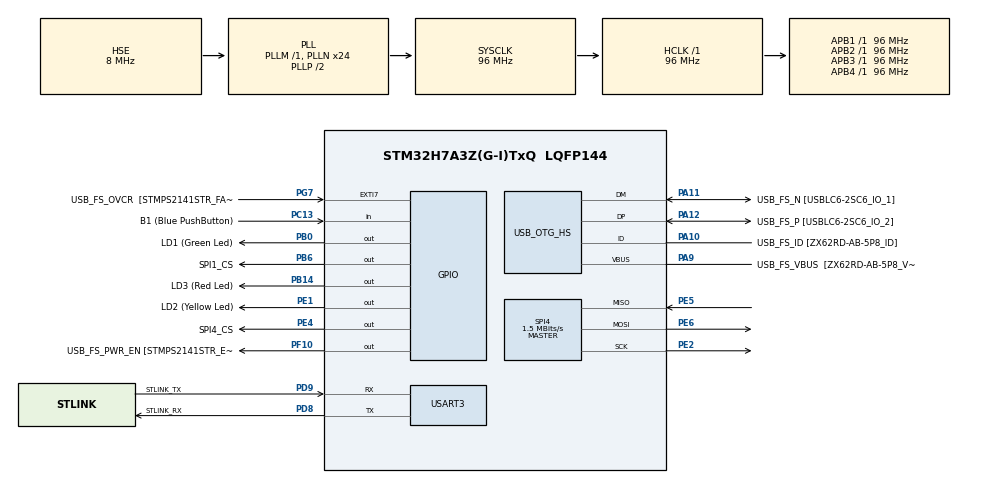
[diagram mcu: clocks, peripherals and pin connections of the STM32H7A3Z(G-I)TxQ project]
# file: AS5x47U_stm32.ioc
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Mcu.Family=STM32H7
Mcu.Name=STM32H7A3Z(G-I)TxQ
Mcu.Package=LQFP144
NVIC.PriorityGroup=NVIC_PRIORITYGROUP_4
PA10.GPIO_Label=USB_FS_ID [ZX62RD-AB-5P8_ID]
PA10.Mode=OTG/Dual-Role-Device-FS
PA10.Signal=USB_OTG_HS_ID
PA11.GPIO_Label=USB_FS_N [USBLC6-2SC6_IO_1]
PA11.Mode=OTG/Dual-Role-Device-FS
PA11.Signal=USB_OTG_HS_DM
PA12.GPIO_Label=USB_FS_P [USBLC6-2SC6_IO_2]
PA12.Mode=OTG/Dual-Role-Device-FS
PA12.Signal=USB_OTG_HS_DP
PA9.GPIO_Label=USB_FS_VBUS  [ZX62RD-AB-5P8_VBUS]
PA9.Mode=Activate_VBUS_FS
PA9.Signal=USB_OTG_HS_VBUS
PB0.GPIO_Label=LD1 (Green Led)
PB0.Signal=GPIO_Output
PB14.GPIO_Label=LD3 (Red Led)
PB14.Signal=GPIO_Output
PB6.GPIO_Label=SPI1_CS
PB6.Signal=GPIO_Output
PC13.GPIO_Label=B1 (Blue PushButton)
PC13.Signal=GPIO_Input
PC14-OSC32_IN.GPIO_Label=OSC32_IN
PC14-OSC32_IN.Mode=LSE-External-Oscillator
PC14-OSC32_IN.Signal=RCC_OSC32_IN
PC15-OSC32_OUT.GPIO_Label=OSC32_OUT
PC15-OSC32_OUT.Mode=LSE-External-Oscillator
PC15-OSC32_OUT.Signal=RCC_OSC32_OUT
PD8.GPIO_Label=STLINK_RX
PD8.Mode=Asynchronous
PD8.Signal=USART3_TX
PD9.GPIO_Label=STLINK_TX
PD9.Mode=Asynchronous
PD9.Signal=USART3_RX
PE1.GPIO_Label=LD2 (Yellow Led)
PE1.Signal=GPIO_Output
PE2.GPIO_PuPd=GPIO_NOPULL
PE2.Mode=Full_Duplex_Master
PE2.Signal=SPI4_SCK
PE4.GPIO_Label=SPI4_CS
PE4.GPIO_PuPd=GPIO_PULLUP
PE4.PinState=GPIO_PIN_SET
PE4.Signal=GPIO_Output
PE5.GPIO_PuPd=GPIO_NOPULL
PE5.Mode=Full_Duplex_Master
PE5.Signal=SPI4_MISO
PE6.Mode=Full_Duplex_Master
PE6.Signal=SPI4_MOSI
PF10.GPIO_Label=USB_FS_PWR_EN [STMPS2141STR_EN]
PF10.Signal=GPIO_Output
PG7.GPIO_Label=USB_FS_OVCR  [STMPS2141STR_FAULT]
PG7.Signal=GPXTI7
PH0-OSC_IN.GPIO_Label=PH0-MCU
PH0-OSC_IN.Mode=HSE-External-Clock-Source
PH0-OSC_IN.Signal=RCC_OSC_IN
PH1-OSC_OUT.GPIO_Label=PH1-MCU
PH1-OSC_OUT.Signal=RCC_OSC_OUT
ProjectManager.HeapSize=0x200
ProjectManager.StackSize=0x400
ProjectManager.TargetToolchain=STM32CubeIDE
RCC.ADCFreq_Value=16125000
RCC.APB1Freq_Value=96000000
RCC.APB2Freq_Value=96000000
RCC.APB3Freq_Value=96000000
RCC.APB4Freq_Value=96000000
RCC.CortexFreq_Value=96000000
RCC.DIVM1=1
RCC.DIVM3=1
RCC.DIVN1=24
RCC.DIVN3=24
RCC.DIVQ1=4
RCC.HCLKFreq_Value=96000000
RCC.HSE_VALUE=8000000
RCC.PLLFRACN=0
RCC.PLLSourceVirtual=RCC_PLLSOURCE_HSE
RCC.PWR_Regulator_Voltage_Scale=PWR_REGULATOR_VOLTAGE_SCALE0
RCC.SYSCLKFreq_VALUE=96000000
RCC.SYSCLKSource=RCC_SYSCLKSOURCE_PLLCLK
RCC.SupplySource=PWR_DIRECT_SMPS_SUPPLY
RCC.USBCLockSelection=RCC_USBCLKSOURCE_HSI48
RCC.USBFreq_Value=48000000
SPI4.BaudRatePrescaler=SPI_BAUDRATEPRESCALER_64
SPI4.CLKPhase=SPI_PHASE_2EDGE
SPI4.CLKPolarity=SPI_POLARITY_LOW
SPI4.CalculateBaudRate=1.5 MBits/s
SPI4.DataSize=SPI_DATASIZE_16BIT
SPI4.Direction=SPI_DIRECTION_2LINES
SPI4.Mode=SPI_MODE_MASTER
SPI4.NSSPMode=SPI_NSS_PULSE_DISABLE
SPI4.VirtualType=VM_MASTER
TIM2.AutoReloadPreload=TIM_AUTORELOAD_PRELOAD_ENABLE
TIM2.Period=4294967295
TIM2.Prescaler=96-1
USART3.VirtualMode-Asynchronous=VM_ASYNC
VP_TIM2_VS_ClockSourceINT.Mode=Internal
board=NUCLEO-H7A3ZI-Q

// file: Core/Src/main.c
/* USER CODE BEGIN Header */
/**
  ******************************************************************************
  * @file           : main.c
  * @brief          : Main program body
  ******************************************************************************
  * @attention
  *
  * Copyright (c) 2023 STMicroelectronics.
  * All rights reserved.
  *
  * This software is licensed under terms that can be found in the LICENSE file
  * in the root directory of this software component.
  * If no LICENSE file comes with this software, it is provided AS-IS.
  *
  ******************************************************************************
  */
/* USER CODE END Header */
#include "main.h"

/* USER CODE BEGIN Includes */
#include "AS5x47U.h"
/* USER CODE END Includes */

SPI_HandleTypeDef hspi4;

TIM_HandleTypeDef htim2;

UART_HandleTypeDef huart3;

void SystemClock_Config(void);
static void MX_GPIO_Init(void);
static void MX_USART3_UART_Init(void);
static void MX_USB_OTG_HS_USB_Init(void);
static void MX_SPI4_Init(void);
static void MX_TIM2_Init(void);

/* USER CODE BEGIN 0 */
uint32_t micros(TIM_HandleTypeDef *timer) {
	return __HAL_TIM_GET_COUNTER(timer);
}
/* USER CODE END 0 */

int main(void)
{

  /* MCU Configuration--------------------------------------------------------*/

  /* Reset of all peripherals, Initializes the Flash interface and the Systick. */
  HAL_Init();

  /* Configure the system clock */
  SystemClock_Config();

  /* Initialize all configured peripherals */
  MX_GPIO_Init();
  MX_USART3_UART_Init();
  MX_USB_OTG_HS_USB_Init();
  MX_SPI4_Init();
  MX_TIM2_Init();
  /* USER CODE BEGIN 2 */
  // Set up an AS5x47U instance and initialise it
  AS5x47U* enc_ptr = AS5x47U_init(&hspi4, SPI4_CS_GPIO_Port, SPI4_CS_Pin);
  HAL_TIM_Base_Start(&htim2);
  // Set up buffer for printing
  float MSG[40] = {'\0'}; // NULL terminated string for printing
  float X = 0.0;
  uint32_t ENC_TIME = 10000; // 0.1 seconds
  uint32_t prevTime = micros(&htim2);
  /* USER CODE END 2 */

  /* Infinite loop */
  while (1)
  {

    /* USER CODE BEGIN 3 */

	uint32_t currentTime = micros(&htim2);
	if (currentTime - prevTime >= ENC_TIME) {

	    // Read the position
	    AS5x47U_readPositionDAE(enc_ptr);
	    X = enc_ptr->angle_comp;

	    HAL_Delay(100);

//		if (!(enc_ptr->errorBit || enc_ptr->warningBit)) {
//
//		}

		sprintf(MSG, "X = %.2f\r\nWarning bit: %d\r\nError bit: %d\r\n",
			  X, enc_ptr->warningBit, enc_ptr->errorBit);
		HAL_UART_Transmit(&huart3, (uint8_t*) MSG, sizeof(MSG), 100);

		HAL_Delay(100);

//	    AS5x47U_printERRFL(enc_ptr, &huart3);
//	    AS5x47U_printDIA(enc_ptr, &huart3);

	    prevTime = micros(&htim2);

	}

  }
  /* USER CODE END 3 */
}

void SystemClock_Config(void)
{
  RCC_OscInitTypeDef RCC_OscInitStruct = {0};
  RCC_ClkInitTypeDef RCC_ClkInitStruct = {0};

  /*AXI clock gating */
  RCC->CKGAENR = 0xFFFFFFFF;

  /** Supply configuration update enable
  */
  HAL_PWREx_ConfigSupply(PWR_DIRECT_SMPS_SUPPLY);

  /** Configure the main internal regulator output voltage
  */
  __HAL_PWR_VOLTAGESCALING_CONFIG(PWR_REGULATOR_VOLTAGE_SCALE0);

  while(!__HAL_PWR_GET_FLAG(PWR_FLAG_VOSRDY)) {}

  /** Initializes the RCC Oscillators according to the specified parameters
  * in the RCC_OscInitTypeDef structure.
  */
  RCC_OscInitStruct.OscillatorType = RCC_OSCILLATORTYPE_HSI48|RCC_OSCILLATORTYPE_HSE;
  RCC_OscInitStruct.HSEState = RCC_HSE_BYPASS;
  RCC_OscInitStruct.HSI48State = RCC_HSI48_ON;
  RCC_OscInitStruct.PLL.PLLState = RCC_PLL_ON;
  RCC_OscInitStruct.PLL.PLLSource = RCC_PLLSOURCE_HSE;
  RCC_OscInitStruct.PLL.PLLM = 1;
  RCC_OscInitStruct.PLL.PLLN = 24;
  RCC_OscInitStruct.PLL.PLLP = 2;
  RCC_OscInitStruct.PLL.PLLQ = 4;
  RCC_OscInitStruct.PLL.PLLR = 2;
  RCC_OscInitStruct.PLL.PLLRGE = RCC_PLL1VCIRANGE_3;
  RCC_OscInitStruct.PLL.PLLVCOSEL = RCC_PLL1VCOWIDE;
  RCC_OscInitStruct.PLL.PLLFRACN = 0;
  if (HAL_RCC_OscConfig(&RCC_OscInitStruct) != HAL_OK)
  {
    Error_Handler();
  }

  /** Initializes the CPU, AHB and APB buses clocks
  */
  RCC_ClkInitStruct.ClockType = RCC_CLOCKTYPE_HCLK|RCC_CLOCKTYPE_SYSCLK
                              |RCC_CLOCKTYPE_PCLK1|RCC_CLOCKTYPE_PCLK2
                              |RCC_CLOCKTYPE_D3PCLK1|RCC_CLOCKTYPE_D1PCLK1;
  RCC_ClkInitStruct.SYSCLKSource = RCC_SYSCLKSOURCE_PLLCLK;
  RCC_ClkInitStruct.SYSCLKDivider = RCC_SYSCLK_DIV1;
  RCC_ClkInitStruct.AHBCLKDivider = RCC_HCLK_DIV1;
  RCC_ClkInitStruct.APB3CLKDivider = RCC_APB3_DIV1;
  RCC_ClkInitStruct.APB1CLKDivider = RCC_APB1_DIV1;
  RCC_ClkInitStruct.APB2CLKDivider = RCC_APB2_DIV1;
  RCC_ClkInitStruct.APB4CLKDivider = RCC_APB4_DIV1;

  if (HAL_RCC_ClockConfig(&RCC_ClkInitStruct, FLASH_LATENCY_2) != HAL_OK)
  {
    Error_Handler();
  }
}

static void MX_SPI4_Init(void)
{

  /* SPI4 parameter configuration*/
  hspi4.Instance = SPI4;
  hspi4.Init.Mode = SPI_MODE_MASTER;
  hspi4.Init.Direction = SPI_DIRECTION_2LINES;
  hspi4.Init.DataSize = SPI_DATASIZE_16BIT;
  hspi4.Init.CLKPolarity = SPI_POLARITY_LOW;
  hspi4.Init.CLKPhase = SPI_PHASE_2EDGE;
  hspi4.Init.NSS = SPI_NSS_SOFT;
  hspi4.Init.BaudRatePrescaler = SPI_BAUDRATEPRESCALER_64;
  hspi4.Init.FirstBit = SPI_FIRSTBIT_MSB;
  hspi4.Init.TIMode = SPI_TIMODE_DISABLE;
  hspi4.Init.CRCCalculation = SPI_CRCCALCULATION_DISABLE;
  hspi4.Init.CRCPolynomial = 0x0;
  hspi4.Init.NSSPMode = SPI_NSS_PULSE_DISABLE;
  hspi4.Init.NSSPolarity = SPI_NSS_POLARITY_LOW;
  hspi4.Init.FifoThreshold = SPI_FIFO_THRESHOLD_01DATA;
  hspi4.Init.TxCRCInitializationPattern = SPI_CRC_INITIALIZATION_ALL_ZERO_PATTERN;
  hspi4.Init.RxCRCInitializationPattern = SPI_CRC_INITIALIZATION_ALL_ZERO_PATTERN;
  hspi4.Init.MasterSSIdleness = SPI_MASTER_SS_IDLENESS_00CYCLE;
  hspi4.Init.MasterInterDataIdleness = SPI_MASTER_INTERDATA_IDLENESS_00CYCLE;
  hspi4.Init.MasterReceiverAutoSusp = SPI_MASTER_RX_AUTOSUSP_DISABLE;
  hspi4.Init.MasterKeepIOState = SPI_MASTER_KEEP_IO_STATE_DISABLE;
  hspi4.Init.IOSwap = SPI_IO_SWAP_DISABLE;
  if (HAL_SPI_Init(&hspi4) != HAL_OK)
  {
    Error_Handler();
  }

}

static void MX_TIM2_Init(void)
{

  TIM_ClockConfigTypeDef sClockSourceConfig = {0};
  TIM_MasterConfigTypeDef sMasterConfig = {0};

  htim2.Instance = TIM2;
  htim2.Init.Prescaler = 96-1;
  htim2.Init.CounterMode = TIM_COUNTERMODE_UP;
  htim2.Init.Period = 4294967295;
  htim2.Init.ClockDivision = TIM_CLOCKDIVISION_DIV1;
  htim2.Init.AutoReloadPreload = TIM_AUTORELOAD_PRELOAD_ENABLE;
  if (HAL_TIM_Base_Init(&htim2) != HAL_OK)
  {
    Error_Handler();
  }
  sClockSourceConfig.ClockSource = TIM_CLOCKSOURCE_INTERNAL;
  if (HAL_TIM_ConfigClockSource(&htim2, &sClockSourceConfig) != HAL_OK)
  {
    Error_Handler();
  }
  sMasterConfig.MasterOutputTrigger = TIM_TRGO_RESET;
  sMasterConfig.MasterSlaveMode = TIM_MASTERSLAVEMODE_DISABLE;
  if (HAL_TIMEx_MasterConfigSynchronization(&htim2, &sMasterConfig) != HAL_OK)
  {
    Error_Handler();
  }

}

static void MX_USART3_UART_Init(void)
{

  huart3.Instance = USART3;
  huart3.Init.BaudRate = 115200;
  huart3.Init.WordLength = UART_WORDLENGTH_8B;
  huart3.Init.StopBits = UART_STOPBITS_1;
  huart3.Init.Parity = UART_PARITY_NONE;
  huart3.Init.Mode = UART_MODE_TX_RX;
  huart3.Init.HwFlowCtl = UART_HWCONTROL_NONE;
  huart3.Init.OverSampling = UART_OVERSAMPLING_16;
  huart3.Init.OneBitSampling = UART_ONE_BIT_SAMPLE_DISABLE;
  huart3.Init.ClockPrescaler = UART_PRESCALER_DIV1;
  huart3.AdvancedInit.AdvFeatureInit = UART_ADVFEATURE_NO_INIT;
  if (HAL_UART_Init(&huart3) != HAL_OK)
  {
    Error_Handler();
  }
  if (HAL_UARTEx_SetTxFifoThreshold(&huart3, UART_TXFIFO_THRESHOLD_1_8) != HAL_OK)
  {
    Error_Handler();
  }
  if (HAL_UARTEx_SetRxFifoThreshold(&huart3, UART_RXFIFO_THRESHOLD_1_8) != HAL_OK)
  {
    Error_Handler();
  }
  if (HAL_UARTEx_DisableFifoMode(&huart3) != HAL_OK)
  {
    Error_Handler();
  }

}

static void MX_USB_OTG_HS_USB_Init(void)
{

}

static void MX_GPIO_Init(void)
{
  GPIO_InitTypeDef GPIO_InitStruct = {0};

  /* GPIO Ports Clock Enable */
  __HAL_RCC_GPIOE_CLK_ENABLE();
  __HAL_RCC_GPIOC_CLK_ENABLE();
  __HAL_RCC_GPIOF_CLK_ENABLE();
  __HAL_RCC_GPIOH_CLK_ENABLE();
  __HAL_RCC_GPIOB_CLK_ENABLE();
  __HAL_RCC_GPIOD_CLK_ENABLE();
  __HAL_RCC_GPIOG_CLK_ENABLE();
  __HAL_RCC_GPIOA_CLK_ENABLE();

  /*Configure GPIO pin Output Level */
  HAL_GPIO_WritePin(SPI4_CS_GPIO_Port, SPI4_CS_Pin, GPIO_PIN_SET);

  /*Configure GPIO pin Output Level */
  HAL_GPIO_WritePin(USB_FS_PWR_EN_GPIO_Port, USB_FS_PWR_EN_Pin, GPIO_PIN_RESET);

  /*Configure GPIO pin Output Level */
  HAL_GPIO_WritePin(GPIOB, LD1_Pin|LD3_Pin|SPI1_CS_Pin, GPIO_PIN_RESET);

  /*Configure GPIO pin Output Level */
  HAL_GPIO_WritePin(LD2_GPIO_Port, LD2_Pin, GPIO_PIN_RESET);

  /*Configure GPIO pin : SPI4_CS_Pin */
  GPIO_InitStruct.Pin = SPI4_CS_Pin;
  GPIO_InitStruct.Mode = GPIO_MODE_OUTPUT_PP;
  GPIO_InitStruct.Pull = GPIO_PULLUP;
  GPIO_InitStruct.Speed = GPIO_SPEED_FREQ_LOW;
  HAL_GPIO_Init(SPI4_CS_GPIO_Port, &GPIO_InitStruct);

  /*Configure GPIO pin : B1_Pin */
  GPIO_InitStruct.Pin = B1_Pin;
  GPIO_InitStruct.Mode = GPIO_MODE_INPUT;
  GPIO_InitStruct.Pull = GPIO_NOPULL;
  HAL_GPIO_Init(B1_GPIO_Port, &GPIO_InitStruct);

  /*Configure GPIO pin : USB_FS_PWR_EN_Pin */
  GPIO_InitStruct.Pin = USB_FS_PWR_EN_Pin;
  GPIO_InitStruct.Mode = GPIO_MODE_OUTPUT_PP;
  GPIO_InitStruct.Pull = GPIO_NOPULL;
  GPIO_InitStruct.Speed = GPIO_SPEED_FREQ_LOW;
  HAL_GPIO_Init(USB_FS_PWR_EN_GPIO_Port, &GPIO_InitStruct);

  /*Configure GPIO pins : LD1_Pin LD3_Pin SPI1_CS_Pin */
  GPIO_InitStruct.Pin = LD1_Pin|LD3_Pin|SPI1_CS_Pin;
  GPIO_InitStruct.Mode = GPIO_MODE_OUTPUT_PP;
  GPIO_InitStruct.Pull = GPIO_NOPULL;
  GPIO_InitStruct.Speed = GPIO_SPEED_FREQ_LOW;
  HAL_GPIO_Init(GPIOB, &GPIO_InitStruct);

  /*Configure GPIO pin : USB_FS_OVCR_Pin */
  GPIO_InitStruct.Pin = USB_FS_OVCR_Pin;
  GPIO_InitStruct.Mode = GPIO_MODE_IT_RISING;
  GPIO_InitStruct.Pull = GPIO_NOPULL;
  HAL_GPIO_Init(USB_FS_OVCR_GPIO_Port, &GPIO_InitStruct);

  /*Configure GPIO pin : USB_FS_VBUS_Pin */
  GPIO_InitStruct.Pin = USB_FS_VBUS_Pin;
  GPIO_InitStruct.Mode = GPIO_MODE_INPUT;
  GPIO_InitStruct.Pull = GPIO_NOPULL;
  HAL_GPIO_Init(USB_FS_VBUS_GPIO_Port, &GPIO_InitStruct);

  /*Configure GPIO pin : USB_FS_ID_Pin */
  GPIO_InitStruct.Pin = USB_FS_ID_Pin;
  GPIO_InitStruct.Mode = GPIO_MODE_AF_PP;
  GPIO_InitStruct.Pull = GPIO_NOPULL;
  GPIO_InitStruct.Speed = GPIO_SPEED_FREQ_LOW;
  GPIO_InitStruct.Alternate = GPIO_AF10_OTG1_HS;
  HAL_GPIO_Init(USB_FS_ID_GPIO_Port, &GPIO_InitStruct);

  /*Configure GPIO pins : USB_FS_N_Pin USB_FS_P_Pin */
  GPIO_InitStruct.Pin = USB_FS_N_Pin|USB_FS_P_Pin;
  GPIO_InitStruct.Mode = GPIO_MODE_AF_PP;
  GPIO_InitStruct.Pull = GPIO_NOPULL;
  GPIO_InitStruct.Speed = GPIO_SPEED_FREQ_LOW;
  HAL_GPIO_Init(GPIOA, &GPIO_InitStruct);

  /*Configure GPIO pin : LD2_Pin */
  GPIO_InitStruct.Pin = LD2_Pin;
  GPIO_InitStruct.Mode = GPIO_MODE_OUTPUT_PP;
  GPIO_InitStruct.Pull = GPIO_NOPULL;
  GPIO_InitStruct.Speed = GPIO_SPEED_FREQ_LOW;
  HAL_GPIO_Init(LD2_GPIO_Port, &GPIO_InitStruct);

}

void Error_Handler(void)
{
  __disable_irq();
  while (1)
  {
  }
}
